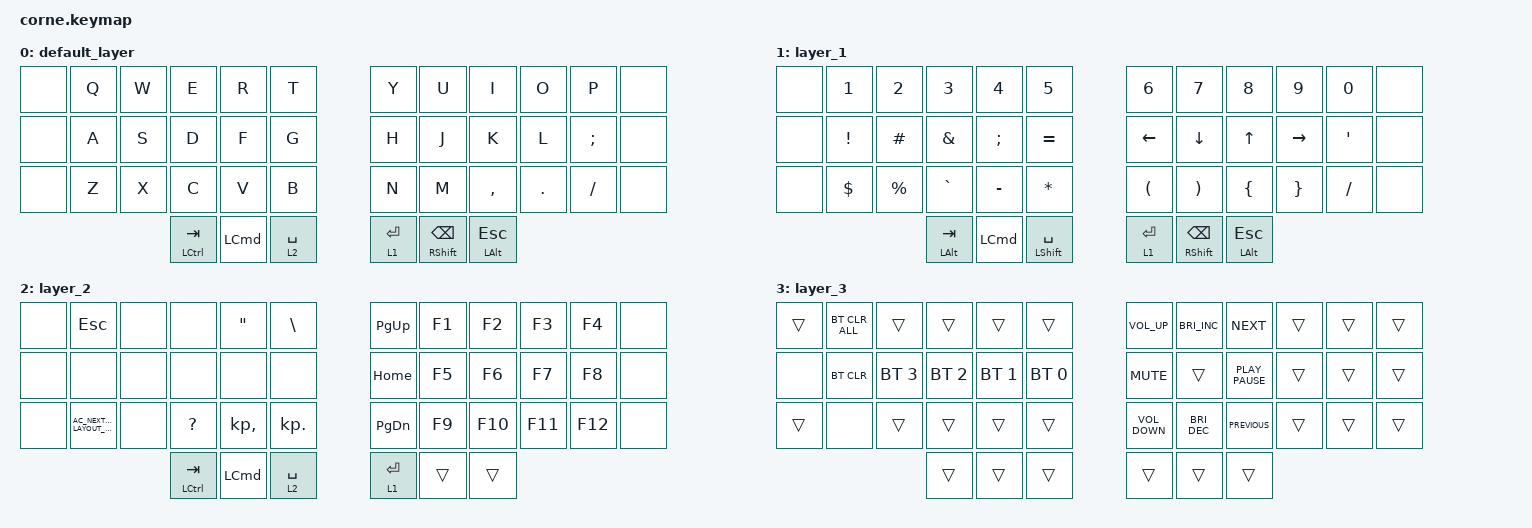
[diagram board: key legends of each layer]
/*
 * Copyright (c) 2020 The ZMK Contributors
 *
 * SPDX-License-Identifier: MIT
 */

#include <behaviors.dtsi>
#include <dt-bindings/zmk/bt.h>
#include <dt-bindings/zmk/keys.h>

/ {
    combos {
        compatible = "zmk,combos";

        fourlayout {
            bindings = <&to 3>;
            key-positions = <38 39>;
        };

        x {
            bindings = <&kp LEFT_BRACKET>;
            key-positions = <8 9>;
        };

        e {
            bindings = <&kp SINGLE_QUOTE>;
            key-positions = <18 19>;
        };

        opp {
            bindings = <&kp LEFT_PARENTHESIS>;
            key-positions = <3 4>;
        };

        clsp {
            bindings = <&kp RIGHT_PARENTHESIS>;
            key-positions = <5 6>;
        };

        lftbrace {
            bindings = <&kp LEFT_BRACE>;
            key-positions = <13 14>;
        };

        rghtbrace {
            bindings = <&kp RIGHT_BRACE>;
            key-positions = <15 16>;
        };

        opnsqrt {
            bindings = <&kp LEFT_BRACKET>;
            key-positions = <24 23>;
        };

        rghtsqrt {
            bindings = <&kp RIGHT_BRACKET>;
            key-positions = <25 26>;
        };

        double_quote {
            bindings = <&kp DOUBLE_QUOTES>;
            key-positions = <2 3>;
        };

        single_quote {
            bindings = <&kp SINGLE_QUOTE>;
            key-positions = <6 7>;
        };
    };

    keymap {
        compatible = "zmk,keymap";

        default_layer {
            bindings = <
&none  &kp Q  &kp W  &kp E                 &kp R             &kp T          &kp Y      &kp U           &kp I             &kp O    &kp P     &none
&none  &kp A  &kp S  &kp D                 &kp F             &kp G          &kp H      &kp J           &kp K             &kp L    &kp SEMI  &none
&none  &kp Z  &kp X  &kp C                 &kp V             &kp B          &kp N      &kp M           &kp COMMA         &kp DOT  &kp FSLH  &none
                     &mt LEFT_CONTROL TAB  &kp LEFT_COMMAND  &lt 2 SPACE    &lt 1 RET  &mt RSHFT BSPC  &mt LEFT_ALT ESC
            >;
        };

        layer_1 {
            bindings = <
&none  &kp NUMBER_1     &kp NUMBER_2  &kp NUMBER_3      &kp NUMBER_4      &kp NUMBER_5            &kp NUMBER_6          &kp NUMBER_7           &kp NUMBER_8      &kp NUMBER_9     &kp N0            &none
&none  &kp EXCLAMATION  &kp HASH      &kp AMPERSAND     &kp SEMICOLON     &kp EQUAL               &kp LEFT_ARROW        &kp DOWN_ARROW         &kp UP_ARROW      &kp RIGHT_ARROW  &kp SINGLE_QUOTE  &none
&none  &kp DOLLAR       &kp PERCENT   &kp GRAVE         &kp MINUS         &kp ASTERISK            &kp LEFT_PARENTHESIS  &kp RIGHT_PARENTHESIS  &kp LEFT_BRACE    &kp RIGHT_BRACE  &kp FSLH          &none
                                      &mt LEFT_ALT TAB  &kp LEFT_COMMAND  &mt LEFT_SHIFT SPACE    &lt 1 RET             &mt RSHFT BSPC         &mt LEFT_ALT ESC
            >;
        };

        layer_2 {
            bindings = <
&none  &kp ESCAPE                            &none  &none                 &kp DOUBLE_QUOTES  &kp BACKSLASH    &kp PG_UP      &kp F1  &kp F2   &kp F3   &kp F4   &none
&none  &none                                 &none  &none                 &none              &none            &kp HOME       &kp F5  &kp F6   &kp F7   &kp F8   &none
&none  &kp C_AC_NEXT_KEYBOARD_LAYOUT_SELECT  &none  &kp QUESTION          &kp KP_COMMA       &kp KP_DOT       &kp PAGE_DOWN  &kp F9  &kp F10  &kp F11  &kp F12  &none
                                                    &mt LEFT_CONTROL TAB  &kp LEFT_COMMAND   &lt 2 SPACE      &lt 1 RET      &trans  &trans
            >;
        };

        layer_3 {
            bindings = <
&trans  &bt BT_CLR_ALL  &trans        &trans        &trans        &trans          &kp C_VOLUME_UP    &kp C_BRIGHTNESS_INC  &kp K_NEXT        &trans  &trans  &trans
&none   &bt BT_CLR      &bt BT_SEL 3  &bt BT_SEL 2  &bt BT_SEL 1  &bt BT_SEL 0    &kp K_MUTE         &trans                &kp K_PLAY_PAUSE  &trans  &trans  &trans
&trans  &none           &trans        &trans        &trans        &trans          &kp C_VOLUME_DOWN  &kp C_BRIGHTNESS_DEC  &kp K_PREVIOUS    &trans  &trans  &trans
                                      &trans        &trans        &trans          &trans             &trans                &trans
            >;
        };
    };

    conditional_layers {
        compatible = "zmk,conditional-layers";

        third {
            if-layers = <1 2>;
            then-layer = <3>;
        };
    };
};
